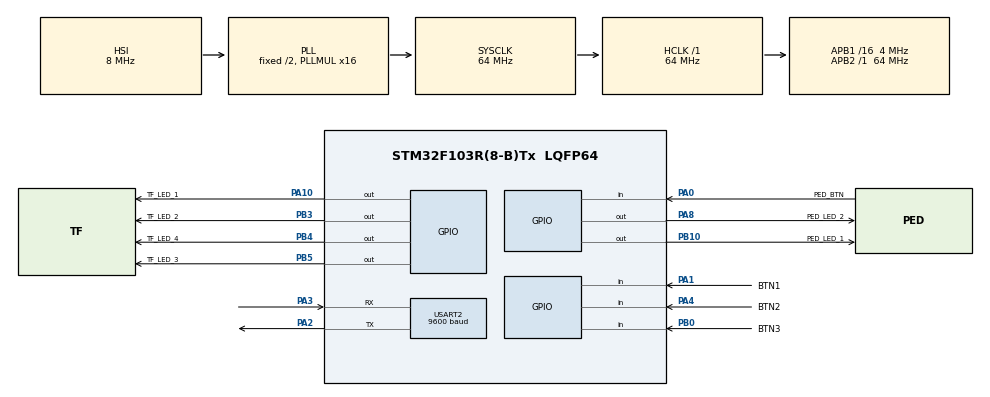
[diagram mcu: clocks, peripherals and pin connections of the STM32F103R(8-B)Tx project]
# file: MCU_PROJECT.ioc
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Mcu.Family=STM32F1
Mcu.Name=STM32F103R(8-B)Tx
Mcu.Package=LQFP64
NVIC.PriorityGroup=NVIC_PRIORITYGROUP_4
NVIC.TIM2_IRQn=true\:0\:0\:false\:false\:true\:true\:true
NVIC.USART2_IRQn=true\:0\:0\:false\:false\:true\:true\:true
PA0-WKUP.GPIO_Label=PED_BTN
PA0-WKUP.GPIO_PuPd=GPIO_PULLUP
PA0-WKUP.Signal=GPIO_Input
PA1.GPIO_Label=BTN1
PA1.GPIO_PuPd=GPIO_PULLUP
PA1.Signal=GPIO_Input
PA10.GPIO_Label=TF_LED_1
PA10.Signal=GPIO_Output
PA13.Mode=Serial_Wire
PA13.Signal=SYS_JTMS-SWDIO
PA14.Mode=Serial_Wire
PA14.Signal=SYS_JTCK-SWCLK
PA2.Mode=Asynchronous
PA2.Signal=USART2_TX
PA3.Mode=Asynchronous
PA3.Signal=USART2_RX
PA4.GPIO_Label=BTN2
PA4.GPIO_PuPd=GPIO_PULLUP
PA4.Signal=GPIO_Input
PA8.GPIO_Label=PED_LED_2
PA8.Signal=GPIO_Output
PB0.GPIO_Label=BTN3
PB0.Signal=GPIO_Input
PB10.GPIO_Label=PED_LED_1
PB10.Signal=GPIO_Output
PB3.GPIO_Label=TF_LED_2
PB3.Signal=GPIO_Output
PB4.GPIO_Label=TF_LED_4
PB4.Signal=GPIO_Output
PB5.GPIO_Label=TF_LED_3
PB5.Signal=GPIO_Output
ProjectManager.HeapSize=0x200
ProjectManager.StackSize=0x400
ProjectManager.TargetToolchain=STM32CubeIDE
RCC.AHBFreq_Value=64000000
RCC.APB1CLKDivider=RCC_HCLK_DIV16
RCC.APB1Freq_Value=4000000
RCC.APB1TimFreq_Value=8000000
RCC.APB2Freq_Value=64000000
RCC.APB2TimFreq_Value=64000000
RCC.HCLKFreq_Value=64000000
RCC.PLLMUL=RCC_PLL_MUL16
RCC.SYSCLKFreq_VALUE=64000000
RCC.SYSCLKSource=RCC_SYSCLKSOURCE_PLLCLK
RCC.USBFreq_Value=64000000
TIM2.Period=63
TIM2.Prescaler=999
USART2.BaudRate=9600
USART2.VirtualMode=VM_ASYNC
VP_TIM2_VS_ClockSourceINT.Mode=Internal
board=custom

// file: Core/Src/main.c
/* USER CODE BEGIN Header */
/**
  ******************************************************************************
  * @file           : main.c
  * @brief          : Main program body
  ******************************************************************************
  * @attention
  *
  * <h2><center>&copy; Copyright (c) 2023 STMicroelectronics.
  * All rights reserved.</center></h2>
  *
  * This software component is licensed by ST under BSD 3-Clause license,
  * the "License"; You may not use this file except in compliance with the
  * License. You may obtain a copy of the License at:
  *                        opensource.org/licenses/BSD-3-Clause
  *
  ******************************************************************************
  */
/* USER CODE END Header */
#include "main.h"

/* USER CODE BEGIN Includes */
#include "global.h"
#include "traffic_light_fsm.h"
#include "manual_fsm.h"
#include "ped_fsm.h"

#include <stdio.h>
/* USER CODE END Includes */

TIM_HandleTypeDef htim2;

UART_HandleTypeDef huart2;

void SystemClock_Config(void);
static void MX_GPIO_Init(void);
static void MX_TIM2_Init(void);
static void MX_USART2_UART_Init(void);

/* USER CODE BEGIN 0 */
# define MAX_BUFFER_SIZE 30

uint8_t temp = 0;
char str[30];

typedef enum {
	IDLE,
	INPUT,
	OUTPUT,
} eComState;

eComState com_state = INPUT;

void HAL_UART_RxCpltCallback(UART_HandleTypeDef *huart){
	if (huart->Instance == USART2){
		HAL_UART_Transmit(&huart2, &temp, 1, 50);
		HAL_UART_Receive_IT(&huart2, &temp, 1);
	}
}

void uart_communication_fsm(){
	switch (com_state){
	case IDLE:

		break;
	case INPUT:
		HAL_UART_Transmit(&huart2, (void*)str, sprintf(str,"!7SEG: R1 = %d; R2 = %d#\r\n",timerRoad1, timerRoad2), 100);
		com_state = OUTPUT;
		setTimer6(100);
		break;
	case OUTPUT:
		if (timer6_flag == 1){
			com_state = INPUT;
		}
		break;
	default:
		break;
	}
}
/* USER CODE END 0 */

int main(void)
{

  /* MCU Configuration--------------------------------------------------------*/

  /* Reset of all peripherals, Initializes the Flash interface and the Systick. */
  HAL_Init();

  /* Configure the system clock */
  SystemClock_Config();

  /* Initialize all configured peripherals */
  MX_GPIO_Init();
  MX_TIM2_Init();
  MX_USART2_UART_Init();
  /* USER CODE BEGIN 2 */
  HAL_TIM_Base_Start_IT(&htim2);
  HAL_UART_Receive_IT(&huart2, &temp, 1);
  /* USER CODE END 2 */

  /* Infinite loop */
  /* USER CODE BEGIN WHILE */
  setTimer1(1);
  while (1)
  {
	  fsm_traffic_light();
	  fsm_manual();
	  fsm_ped();
	  uart_communication_fsm();
    /* USER CODE END WHILE */

  }
}

void SystemClock_Config(void)
{
  RCC_OscInitTypeDef RCC_OscInitStruct = {0};
  RCC_ClkInitTypeDef RCC_ClkInitStruct = {0};

  /** Initializes the RCC Oscillators according to the specified parameters
  * in the RCC_OscInitTypeDef structure.
  */
  RCC_OscInitStruct.OscillatorType = RCC_OSCILLATORTYPE_HSI;
  RCC_OscInitStruct.HSIState = RCC_HSI_ON;
  RCC_OscInitStruct.HSICalibrationValue = RCC_HSICALIBRATION_DEFAULT;
  RCC_OscInitStruct.PLL.PLLState = RCC_PLL_ON;
  RCC_OscInitStruct.PLL.PLLSource = RCC_PLLSOURCE_HSI_DIV2;
  RCC_OscInitStruct.PLL.PLLMUL = RCC_PLL_MUL16;
  if (HAL_RCC_OscConfig(&RCC_OscInitStruct) != HAL_OK)
  {
    Error_Handler();
  }
  /** Initializes the CPU, AHB and APB buses clocks
  */
  RCC_ClkInitStruct.ClockType = RCC_CLOCKTYPE_HCLK|RCC_CLOCKTYPE_SYSCLK
                              |RCC_CLOCKTYPE_PCLK1|RCC_CLOCKTYPE_PCLK2;
  RCC_ClkInitStruct.SYSCLKSource = RCC_SYSCLKSOURCE_PLLCLK;
  RCC_ClkInitStruct.AHBCLKDivider = RCC_SYSCLK_DIV1;
  RCC_ClkInitStruct.APB1CLKDivider = RCC_HCLK_DIV16;
  RCC_ClkInitStruct.APB2CLKDivider = RCC_HCLK_DIV1;

  if (HAL_RCC_ClockConfig(&RCC_ClkInitStruct, FLASH_LATENCY_2) != HAL_OK)
  {
    Error_Handler();
  }
}

static void MX_TIM2_Init(void)
{

  TIM_ClockConfigTypeDef sClockSourceConfig = {0};
  TIM_MasterConfigTypeDef sMasterConfig = {0};

  htim2.Instance = TIM2;
  htim2.Init.Prescaler = 999;
  htim2.Init.CounterMode = TIM_COUNTERMODE_UP;
  htim2.Init.Period = 63;
  htim2.Init.ClockDivision = TIM_CLOCKDIVISION_DIV1;
  htim2.Init.AutoReloadPreload = TIM_AUTORELOAD_PRELOAD_DISABLE;
  if (HAL_TIM_Base_Init(&htim2) != HAL_OK)
  {
    Error_Handler();
  }
  sClockSourceConfig.ClockSource = TIM_CLOCKSOURCE_INTERNAL;
  if (HAL_TIM_ConfigClockSource(&htim2, &sClockSourceConfig) != HAL_OK)
  {
    Error_Handler();
  }
  sMasterConfig.MasterOutputTrigger = TIM_TRGO_RESET;
  sMasterConfig.MasterSlaveMode = TIM_MASTERSLAVEMODE_DISABLE;
  if (HAL_TIMEx_MasterConfigSynchronization(&htim2, &sMasterConfig) != HAL_OK)
  {
    Error_Handler();
  }

}

static void MX_USART2_UART_Init(void)
{

  huart2.Instance = USART2;
  huart2.Init.BaudRate = 9600;
  huart2.Init.WordLength = UART_WORDLENGTH_8B;
  huart2.Init.StopBits = UART_STOPBITS_1;
  huart2.Init.Parity = UART_PARITY_NONE;
  huart2.Init.Mode = UART_MODE_TX_RX;
  huart2.Init.HwFlowCtl = UART_HWCONTROL_NONE;
  huart2.Init.OverSampling = UART_OVERSAMPLING_16;
  if (HAL_UART_Init(&huart2) != HAL_OK)
  {
    Error_Handler();
  }

}

static void MX_GPIO_Init(void)
{
  GPIO_InitTypeDef GPIO_InitStruct = {0};

  /* GPIO Ports Clock Enable */
  __HAL_RCC_GPIOA_CLK_ENABLE();
  __HAL_RCC_GPIOB_CLK_ENABLE();

  /*Configure GPIO pin Output Level */
  HAL_GPIO_WritePin(GPIOB, PED_LED_1_Pin|TF_LED_2_Pin|TF_LED_4_Pin|TF_LED_3_Pin, GPIO_PIN_RESET);

  /*Configure GPIO pin Output Level */
  HAL_GPIO_WritePin(GPIOA, PED_LED_2_Pin|TF_LED_1_Pin, GPIO_PIN_RESET);

  /*Configure GPIO pins : PED_BTN_Pin BTN1_Pin BTN2_Pin */
  GPIO_InitStruct.Pin = PED_BTN_Pin|BTN1_Pin|BTN2_Pin;
  GPIO_InitStruct.Mode = GPIO_MODE_INPUT;
  GPIO_InitStruct.Pull = GPIO_PULLUP;
  HAL_GPIO_Init(GPIOA, &GPIO_InitStruct);

  /*Configure GPIO pin : BTN3_Pin */
  GPIO_InitStruct.Pin = BTN3_Pin;
  GPIO_InitStruct.Mode = GPIO_MODE_INPUT;
  GPIO_InitStruct.Pull = GPIO_NOPULL;
  HAL_GPIO_Init(BTN3_GPIO_Port, &GPIO_InitStruct);

  /*Configure GPIO pins : PED_LED_1_Pin TF_LED_2_Pin TF_LED_4_Pin TF_LED_3_Pin */
  GPIO_InitStruct.Pin = PED_LED_1_Pin|TF_LED_2_Pin|TF_LED_4_Pin|TF_LED_3_Pin;
  GPIO_InitStruct.Mode = GPIO_MODE_OUTPUT_PP;
  GPIO_InitStruct.Pull = GPIO_NOPULL;
  GPIO_InitStruct.Speed = GPIO_SPEED_FREQ_LOW;
  HAL_GPIO_Init(GPIOB, &GPIO_InitStruct);

  /*Configure GPIO pins : PED_LED_2_Pin TF_LED_1_Pin */
  GPIO_InitStruct.Pin = PED_LED_2_Pin|TF_LED_1_Pin;
  GPIO_InitStruct.Mode = GPIO_MODE_OUTPUT_PP;
  GPIO_InitStruct.Pull = GPIO_NOPULL;
  GPIO_InitStruct.Speed = GPIO_SPEED_FREQ_LOW;
  HAL_GPIO_Init(GPIOA, &GPIO_InitStruct);

}

/* USER CODE BEGIN 4 */
void HAL_TIM_PeriodElapsedCallback ( TIM_HandleTypeDef * htim ){
	timerRun();
	getKeyInput();
}
/* USER CODE END 4 */

void Error_Handler(void)
{
  __disable_irq();
  while (1)
  {
  }
}

/************************ (C) COPYRIGHT STMicroelectronics *****END OF FILE****/
